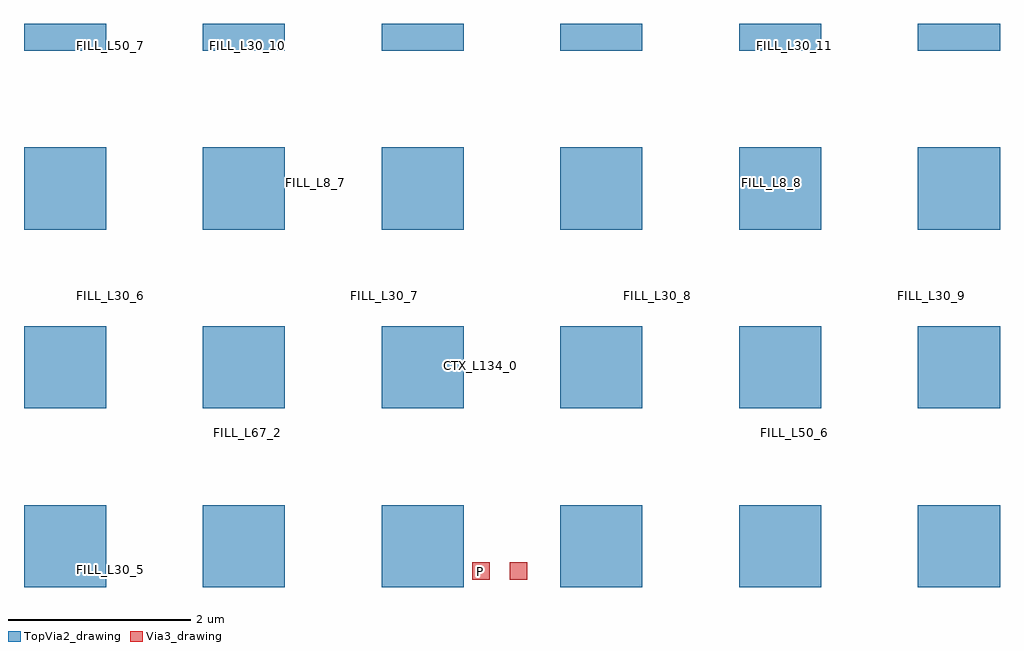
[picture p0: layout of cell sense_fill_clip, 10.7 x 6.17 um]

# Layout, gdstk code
import gdstk
lib = gdstk.Library(unit=1e-6, precision=1e-09)
def R(c, l, rs):  # rectangles x0, y0, x1, y1
    for r in rs: c.add(gdstk.rectangle(r[:2], r[2:], *l))
def A(c, l, x, y, w, h, nx, ny, dx, dy):  # array of equal rectangles
    R(c, l, [(x+i*dx, y+j*dy, x+i*dx+w, y+j*dy+h) for i in range(nx) for j in range(ny)])
Via3_drawing = (49, 0)
TopVia2_drawing = (133, 0)

sense_fill_clip = lib.new_cell('sense_fill_clip')
R(sense_fill_clip, Via3_drawing, [(1018.465,732.385,1018.655,732.575), (1018.875,732.385,1019.065,732.575)])
A(sense_fill_clip, TopVia2_drawing, 1013.55, 732.305, 0.9, 0.9, 6, 3, 1.96, 1.96)
A(sense_fill_clip, TopVia2_drawing, 1013.55, 738.185, 0.9, 0.295, 6, 1, 1.96, 0)
sense_fill_clip.add(gdstk.Label('FILL_L8_8', (1021.75,736.74), layer=8, texttype=25))
sense_fill_clip.add(gdstk.Label('FILL_L8_7', (1016.75,736.74), layer=8, texttype=25))
sense_fill_clip.add(gdstk.Label('FILL_L8_6', (1013.03,736.74), layer=8, texttype=25))
sense_fill_clip.add(gdstk.Label('FILL_L8_5', (1021.75,731.75), layer=8, texttype=25))
sense_fill_clip.add(gdstk.Label('FILL_L8_4', (1016.75,731.75), layer=8, texttype=25))
sense_fill_clip.add(gdstk.Label('FILL_L8_3', (1013.03,731.75), layer=8, texttype=25))
sense_fill_clip.add(gdstk.Label('FILL_L8_2', (1021.75,727.49), layer=8, texttype=25))
sense_fill_clip.add(gdstk.Label('FILL_L8_1', (1016.75,727.49), layer=8, texttype=25))
sense_fill_clip.add(gdstk.Label('FILL_L8_0', (1013.03,727.49), layer=8, texttype=25))
sense_fill_clip.add(gdstk.Label('FILL_L10_8', (1021.75,736.74), layer=10, texttype=25))
sense_fill_clip.add(gdstk.Label('FILL_L10_7', (1016.75,736.74), layer=10, texttype=25))
sense_fill_clip.add(gdstk.Label('FILL_L10_5', (1021.75,731.75), layer=10, texttype=25))
sense_fill_clip.add(gdstk.Label('FILL_L10_4', (1016.75,731.75), layer=10, texttype=25))
sense_fill_clip.add(gdstk.Label('FILL_L10_3', (1013.03,731.75), layer=10, texttype=25))
sense_fill_clip.add(gdstk.Label('FILL_L10_2', (1021.75,727.49), layer=10, texttype=25))
sense_fill_clip.add(gdstk.Label('FILL_L10_6', (1013.03,736.74), layer=10, texttype=25))
sense_fill_clip.add(gdstk.Label('FILL_L10_1', (1016.75,727.49), layer=10, texttype=25))
sense_fill_clip.add(gdstk.Label('FILL_L10_0', (1013.03,727.49), layer=10, texttype=25))
sense_fill_clip.add(gdstk.Label('FILL_L30_7', (1017.5,735.5), layer=30, texttype=25))
sense_fill_clip.add(gdstk.Label('FILL_L30_10', (1016,738.24), layer=30, texttype=25))
sense_fill_clip.add(gdstk.Label('FILL_L30_6', (1014.5,735.5), layer=30, texttype=25))
sense_fill_clip.add(gdstk.Label('FILL_L30_5', (1014.5,732.5), layer=30, texttype=25))
sense_fill_clip.add(gdstk.Label('FILL_L30_11', (1022,738.24), layer=30, texttype=25))
sense_fill_clip.add(gdstk.Label('P', (1018.56,732.48), layer=30, texttype=25))
sense_fill_clip.add(gdstk.Label('FILL_L30_3', (1023.5,726.74), layer=30, texttype=25))
sense_fill_clip.add(gdstk.Label('FILL_L30_1', (1017.5,726.74), layer=30, texttype=25))
sense_fill_clip.add(gdstk.Label('FILL_L30_0', (1014.5,726.74), layer=30, texttype=25))
sense_fill_clip.add(gdstk.Label('FILL_L30_9', (1023.5,735.5), layer=30, texttype=25))
sense_fill_clip.add(gdstk.Label('FILL_L30_8', (1020.5,735.5), layer=30, texttype=25))
sense_fill_clip.add(gdstk.Label('FILL_L30_2', (1020.5,726.74), layer=30, texttype=25))
sense_fill_clip.add(gdstk.Label('FILL_L30_4', (1014.5,729.5), layer=30, texttype=25))
sense_fill_clip.add(gdstk.Label('FILL_L50_7', (1014.5,738.24), layer=50, texttype=25))
sense_fill_clip.add(gdstk.Label('FILL_L50_6', (1022,734), layer=50, texttype=25))
sense_fill_clip.add(gdstk.Label('FILL_L50_4', (1014.5,732.5), layer=50, texttype=25))
sense_fill_clip.add(gdstk.Label('FILL_L50_5', (1014.5,735.5), layer=50, texttype=25))
sense_fill_clip.add(gdstk.Label('PSEG_L50_0', (1018.765,732.48), layer=50, texttype=25))
sense_fill_clip.add(gdstk.Label('FILL_L50_3', (1022,728.24), layer=50, texttype=25))
sense_fill_clip.add(gdstk.Label('FILL_L50_8', (1022,738.24), layer=50, texttype=25))
sense_fill_clip.add(gdstk.Label('FILL_L50_1', (1017.5,726.74), layer=50, texttype=25))
sense_fill_clip.add(gdstk.Label('FILL_L50_0', (1014.5,726.74), layer=50, texttype=25))
sense_fill_clip.add(gdstk.Label('FILL_L50_2', (1014.5,729.5), layer=50, texttype=25))
sense_fill_clip.add(gdstk.Label('FILL_L67_5', (1022,738.24), layer=67, texttype=25))
sense_fill_clip.add(gdstk.Label('FILL_L67_3', (1022,734), layer=67, texttype=25))
sense_fill_clip.add(gdstk.Label('FILL_L67_2', (1016,734), layer=67, texttype=25))
sense_fill_clip.add(gdstk.Label('FILL_L67_4', (1016,738.24), layer=67, texttype=25))
sense_fill_clip.add(gdstk.Label('FILL_L67_1', (1022,728.24), layer=67, texttype=25))
sense_fill_clip.add(gdstk.Label('FILL_L67_0', (1016,728.24), layer=67, texttype=25))
sense_fill_clip.add(gdstk.Label('CTX_L126_0', (1018.56,732.48), layer=126, texttype=25))
sense_fill_clip.add(gdstk.Label('CTX_L134_0', (1018.56,734.735), layer=134, texttype=25))

lib.write_gds('sense_fill_clip.gds')
